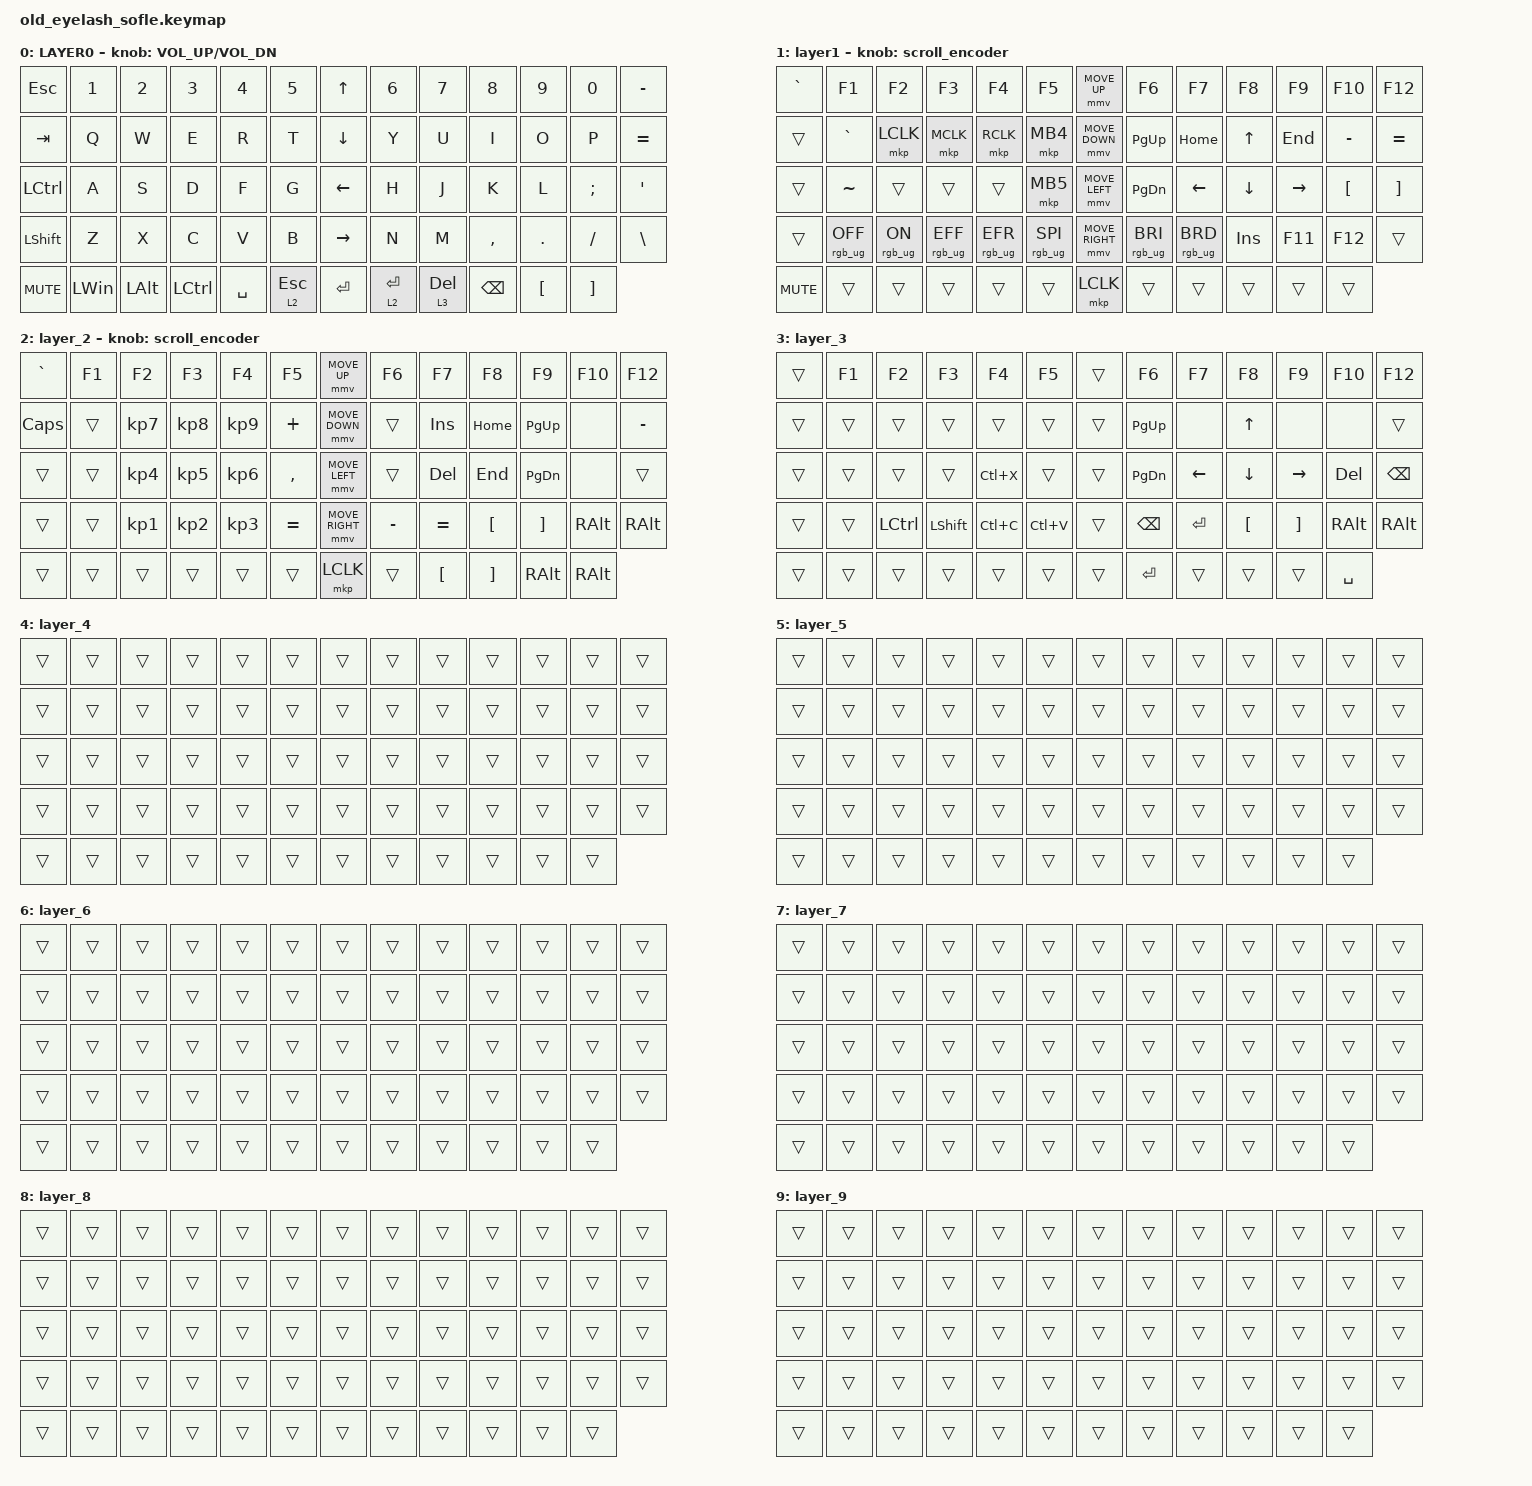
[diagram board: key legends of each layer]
#include <dt-bindings/zmk/mouse.h>
#include <input/processors.dtsi>
#include <behaviors.dtsi>
#include <dt-bindings/zmk/keys.h>
#include <dt-bindings/zmk/pointing.h>
#include <dt-bindings/zmk/rgb.h>

/*

   &mmv_input_listener {
       input-processors = <&zip_xy_scaler 2 1>;
   };

   &msc_input_listener {
       input-processors = <&zip_xy_scaler 2 1>;
   };

 */

#define ZMK_MOUSE_DEFAULT_MOVE_VAL 1200  // 600
#define ZMK_MOUSE_DEFAULT_SCRL_VAL 20    // 10

/ {
    behaviors {
        mmv {
            acceleration-exponent = <1>;      // 1
            time-to-max-speed-ms = <900>;    // 40
            delay-ms = <0>;                   // 0
        };

        msc {
            acceleration-exponent = <1>;      // 0
            time-to-max-speed-ms = <400>;      // 500
            delay-ms = <0>;                   //   10
        };
    };

    scroll_encoder: scroll_encoder {
        compatible = "zmk,behavior-sensor-rotate";
        #sensor-binding-cells = <0>;
        bindings = <&msc SCRL_DOWN>, <&msc SCRL_UP>;

        tap-ms = <30>;
    };

    combos {
        compatible = "zmk,combos";

        RightAlt {
            bindings = <&kp RIGHT_ALT>;
            key-positions = <39 56>;
        };
    };

    keymap {
        compatible = "zmk,keymap";

        layer0 {
            bindings = <
&kp ESC     &kp N1        &kp N2        &kp N3     &kp N4     &kp N5       &kp UP_ARROW     &kp N6       &kp N7        &kp N8         &kp N9            &kp N0             &kp MINUS
&kp TAB     &kp Q         &kp W         &kp E      &kp R      &kp T        &kp DOWN_ARROW   &kp Y        &kp U         &kp I          &kp O             &kp P              &kp EQUAL
&kp LCTRL   &kp A         &kp S         &kp D      &kp F      &kp G        &kp LEFT_ARROW   &kp H        &kp J         &kp K          &kp L             &kp SEMI           &kp APOS
&kp LSHFT   &kp Z         &kp X         &kp C      &kp V      &kp B        &kp RIGHT_ARROW  &kp N        &kp M         &kp COMMA      &kp DOT           &kp FSLH           &kp BACKSLASH
&kp C_MUTE  &kp LEFT_WIN  &kp LEFT_ALT  &kp LCTRL  &kp SPACE  &lt 2 ESC    &kp ENTER        &lt 2 ENTER  &lt 3 DELETE  &kp BACKSPACE  &kp LEFT_BRACKET  &kp RIGHT_BRACKET
            >;

            sensor-bindings = <&inc_dec_kp C_VOLUME_UP C_VOL_DN>;
            display-name = "LAYER0";
        };

        layer_1 {
            bindings = <
&kp GRAVE   &kp F1           &kp F2          &kp F3           &kp F4           &kp F5             &mmv MOVE_UP     &kp F6           &kp F7           &kp F8      &kp F9     &kp F10           &kp F12
&trans      &kp GRAVE        &mkp LCLK       &mkp MCLK        &mkp RCLK        &mkp MB4           &mmv MOVE_DOWN   &kp PG_UP        &kp HOME         &kp UP      &kp END    &kp MINUS         &kp EQUAL
&trans      &kp TILDE        &trans          &trans           &trans           &mkp MB5           &mmv MOVE_LEFT   &kp PG_DN        &kp LEFT         &kp DOWN    &kp RIGHT  &kp LEFT_BRACKET  &kp RIGHT_BRACKET
&trans      &rgb_ug RGB_OFF  &rgb_ug RGB_ON  &rgb_ug RGB_EFF  &rgb_ug RGB_EFR  &rgb_ug RGB_SPI    &mmv MOVE_RIGHT  &rgb_ug RGB_BRI  &rgb_ug RGB_BRD  &kp INSERT  &kp F11    &kp F12           &trans
&kp C_MUTE  &trans           &trans          &trans           &trans           &trans             &mkp LCLK        &trans           &trans           &trans      &trans     &trans
            >;

            display-name = "layer1";
            sensor-bindings = <&scroll_encoder>;
        };

        layer_2 {
            bindings = <
&kp GRAVE  &kp F1  &kp F2           &kp F3           &kp F4           &kp F5       &mmv MOVE_UP     &kp F6     &kp F7            &kp F8             &kp F9             &kp F10        &kp F12
&kp CAPS   &trans  &kp KP_N7        &kp KP_NUMBER_8  &kp KP_NUMBER_9  &kp PLUS     &mmv MOVE_DOWN   &trans     &kp INS           &kp HOME           &kp PAGE_UP        &none          &kp MINUS
&trans     &trans  &kp KP_NUMBER_4  &kp KP_NUMBER_5  &kp KP_NUMBER_6  &kp COMMA    &mmv MOVE_LEFT   &trans     &kp DEL           &kp END            &kp PAGE_DOWN      &none          &trans
&trans     &trans  &kp KP_NUMBER_1  &kp KP_NUMBER_2  &kp KP_NUMBER_3  &kp EQUAL    &mmv MOVE_RIGHT  &kp MINUS  &kp EQUAL         &kp LEFT_BRACKET   &kp RIGHT_BRACKET  &kp RALT       &kp RIGHT_ALT
&trans     &trans  &trans           &trans           &trans           &trans       &mkp LCLK        &trans     &kp LEFT_BRACKET  &kp RIGHT_BRACKET  &kp RALT           &kp RIGHT_ALT
            >;

            sensor-bindings = <&scroll_encoder>;
        };

        layer_3 {
            bindings = <
&trans  &kp F1  &kp F2     &kp F3     &kp F4     &kp F5       &trans  &kp F6         &kp F7     &kp F8        &kp F9     &kp F10        &kp F12
&trans  &trans  &trans     &trans     &trans     &trans       &trans  &kp PAGE_UP    &none      &kp UP_ARROW  &none      &none          &trans
&trans  &trans  &trans     &trans     &kp LC(X)  &trans       &trans  &kp PAGE_DOWN  &kp LEFT   &kp DOWN      &kp RIGHT  &kp DELETE     &kp BSPC
&trans  &trans  &kp LCTRL  &kp LSHFT  &kp LC(C)  &kp LC(V)    &trans  &kp BSPC       &kp ENTER  &kp LBKT      &kp RBKT   &kp RIGHT_ALT  &kp RALT
&trans  &trans  &trans     &trans     &trans     &trans       &trans  &kp ENTER      &trans     &trans        &trans     &kp SPACE
            >;
        };

        layer_4 {
            bindings = <
&trans  &trans  &trans  &trans  &trans  &trans    &trans  &trans  &trans  &trans  &trans  &trans  &trans
&trans  &trans  &trans  &trans  &trans  &trans    &trans  &trans  &trans  &trans  &trans  &trans  &trans
&trans  &trans  &trans  &trans  &trans  &trans    &trans  &trans  &trans  &trans  &trans  &trans  &trans
&trans  &trans  &trans  &trans  &trans  &trans    &trans  &trans  &trans  &trans  &trans  &trans  &trans
&trans  &trans  &trans  &trans  &trans  &trans    &trans  &trans  &trans  &trans  &trans  &trans
            >;
        };

        layer_5 {
            bindings = <
&trans  &trans  &trans  &trans  &trans  &trans    &trans  &trans  &trans  &trans  &trans  &trans  &trans
&trans  &trans  &trans  &trans  &trans  &trans    &trans  &trans  &trans  &trans  &trans  &trans  &trans
&trans  &trans  &trans  &trans  &trans  &trans    &trans  &trans  &trans  &trans  &trans  &trans  &trans
&trans  &trans  &trans  &trans  &trans  &trans    &trans  &trans  &trans  &trans  &trans  &trans  &trans
&trans  &trans  &trans  &trans  &trans  &trans    &trans  &trans  &trans  &trans  &trans  &trans
            >;
        };

        layer_6 {
            bindings = <
&trans  &trans  &trans  &trans  &trans  &trans    &trans  &trans  &trans  &trans  &trans  &trans  &trans
&trans  &trans  &trans  &trans  &trans  &trans    &trans  &trans  &trans  &trans  &trans  &trans  &trans
&trans  &trans  &trans  &trans  &trans  &trans    &trans  &trans  &trans  &trans  &trans  &trans  &trans
&trans  &trans  &trans  &trans  &trans  &trans    &trans  &trans  &trans  &trans  &trans  &trans  &trans
&trans  &trans  &trans  &trans  &trans  &trans    &trans  &trans  &trans  &trans  &trans  &trans
            >;
        };

        layer_7 {
            bindings = <
&trans  &trans  &trans  &trans  &trans  &trans    &trans  &trans  &trans  &trans  &trans  &trans  &trans
&trans  &trans  &trans  &trans  &trans  &trans    &trans  &trans  &trans  &trans  &trans  &trans  &trans
&trans  &trans  &trans  &trans  &trans  &trans    &trans  &trans  &trans  &trans  &trans  &trans  &trans
&trans  &trans  &trans  &trans  &trans  &trans    &trans  &trans  &trans  &trans  &trans  &trans  &trans
&trans  &trans  &trans  &trans  &trans  &trans    &trans  &trans  &trans  &trans  &trans  &trans
            >;
        };

        layer_8 {
            bindings = <
&trans  &trans  &trans  &trans  &trans  &trans    &trans  &trans  &trans  &trans  &trans  &trans  &trans
&trans  &trans  &trans  &trans  &trans  &trans    &trans  &trans  &trans  &trans  &trans  &trans  &trans
&trans  &trans  &trans  &trans  &trans  &trans    &trans  &trans  &trans  &trans  &trans  &trans  &trans
&trans  &trans  &trans  &trans  &trans  &trans    &trans  &trans  &trans  &trans  &trans  &trans  &trans
&trans  &trans  &trans  &trans  &trans  &trans    &trans  &trans  &trans  &trans  &trans  &trans
            >;
        };

        layer_9 {
            bindings = <
&trans  &trans  &trans  &trans  &trans  &trans    &trans  &trans  &trans  &trans  &trans  &trans  &trans
&trans  &trans  &trans  &trans  &trans  &trans    &trans  &trans  &trans  &trans  &trans  &trans  &trans
&trans  &trans  &trans  &trans  &trans  &trans    &trans  &trans  &trans  &trans  &trans  &trans  &trans
&trans  &trans  &trans  &trans  &trans  &trans    &trans  &trans  &trans  &trans  &trans  &trans  &trans
&trans  &trans  &trans  &trans  &trans  &trans    &trans  &trans  &trans  &trans  &trans  &trans
            >;
        };
    };
};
